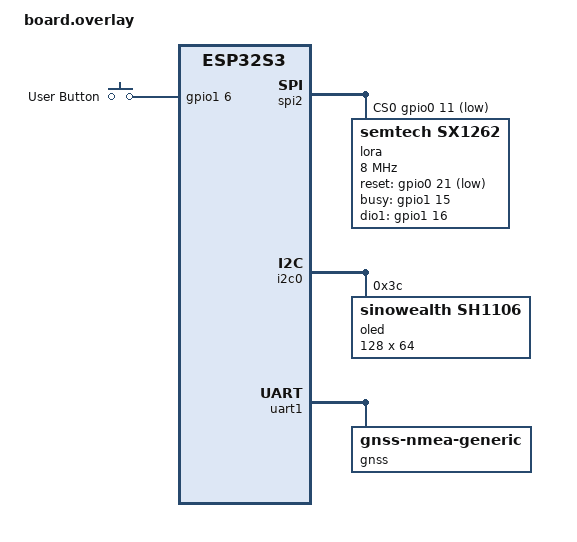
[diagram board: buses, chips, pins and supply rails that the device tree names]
/*
 * SPDX-License-Identifier: MIT
 * BQ Station G2 — ZephCore overlay
 *
 * Adds LoRa radio, display, GPS, button, and filesystem on top of the
 * base board DTS. Pin mapping from Arduino MeshCore variants/station_g2.
 *
 * LoRa SPI2 pins:  SCLK=12, MOSI=13, MISO=14, NSS=11
 * LoRa control:    DIO1=48, RESET=21, BUSY=47
 * Display I2C0:    SDA=5, SCL=6 (SH1106 @ 0x3C)
 * GPS UART1:       TX=7, RX=15
 * Button:          GPIO38
 */

#include <zephyr/dt-bindings/lora/sx126x.h>

/ {
	aliases {
		lora0 = &lora;
		sw0 = &user_button;
	};

	chosen {
		zephyr,display = &oled;
	};

	buttons: buttons {
		compatible = "gpio-keys";
		user_button: user_button {
			gpios = <&gpio1 6 GPIO_ACTIVE_HIGH>;  /* GPIO38 = gpio1 pin 6 */
			label = "User Button";
			zephyr,code = <INPUT_BTN_0>;
		};
	};
};

/* SX1262 + PA on SPI2 */
&spi2 {
	cs-gpios = <&gpio0 11 GPIO_ACTIVE_LOW>;  /* NSS = GPIO11 */

	lora: lora@0 {
		compatible = "semtech,sx1262";
		reg = <0>;
		spi-max-frequency = <8000000>;

		reset-gpios = <&gpio0 21 GPIO_ACTIVE_LOW>;               /* RESET = GPIO21 */
		busy-gpios  = <&gpio1 15 GPIO_ACTIVE_HIGH>;               /* BUSY  = GPIO47 = gpio1 pin 15 */
		dio1-gpios  = <&gpio1 16 (GPIO_PULL_DOWN | GPIO_ACTIVE_HIGH)>;  /* DIO1  = GPIO48 = gpio1 pin 16 */

		/* DIO2 controls RF switch for TX */
		dio2-tx-enable;

		/* TCXO 1.8V via DIO3 */
		dio3-tcxo-voltage = <SX126X_DIO3_TCXO_1V8>;
		tcxo-power-startup-delay-ms = <10>;

		rx-boosted;
	};
};

/* SH1106 128x64 OLED on I2C0 */
&i2c0 {
	oled: sh1106@3c {
		compatible = "sinowealth,sh1106";
		reg = <0x3c>;
		width = <128>;
		height = <64>;
		segment-offset = <2>;
		page-offset = <0>;
		display-offset = <0>;
		multiplex-ratio = <63>;
		prechargep = <0x22>;
		segment-remap;
		com-invdir;
	};

	#include "../../common/sensors-i2c.dtsi"
};

/* GPS on UART1 (already enabled in DTS with 9600 baud) */
&uart1 {
	gnss: gnss-nmea-generic {
		compatible = "gnss-nmea-generic";
	};
};

/*
 * Flash partitions live in partitions.overlay (this dir) so the identical map
 * is fed to both the app and the MCUboot image — see that file and
 * sysbuild/CMakeLists.txt.
 */

/* LittleFS auto-mount — standard /lfs mount point */
#include "../../common/filesystem.dtsi"

/* USB OTG companion transport. The node is inert unless the build enables the
 * USB device stack via boards/common/esp32s3_usb.conf.
 *
 * station_g2 consoles over USB Serial/JTAG (board DTS), which shares D+/D- with
 * USB OTG — so the console reroute to uart0 lives in the auto-paired
 * boards/common/esp32s3_usb.overlay and applies only when that conf is passed.
 * Do NOT include esp32s3_console_uart0.dtsi here: it would move the console
 * (and the observer/repeater serial CLI that falls back to it) onto GPIO43/44
 * in every build of this board, including the ones still using USB Serial/JTAG. */
#include "../../common/esp32s3_usb_otg.dtsi"
